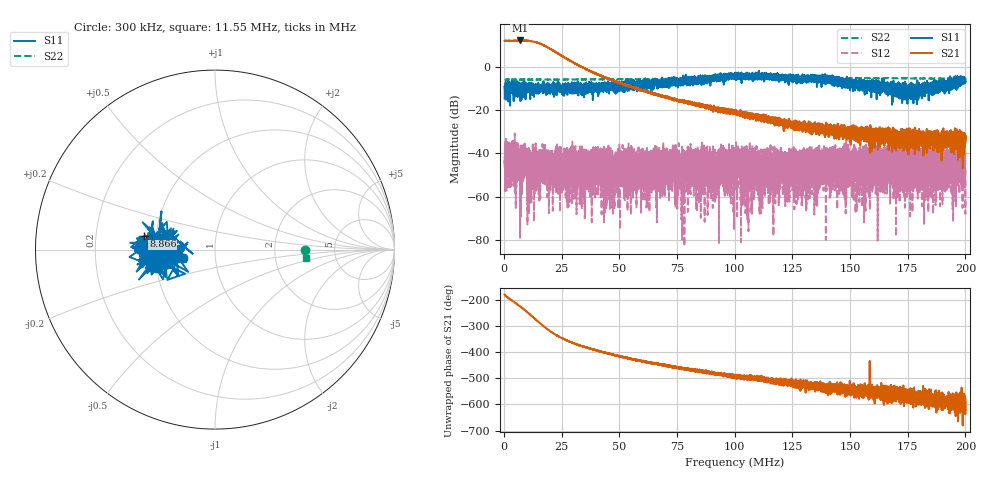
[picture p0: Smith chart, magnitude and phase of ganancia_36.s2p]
# Hz S DB R 50
! CMT, M5065, 19127446, 24.2.4/2
! Date: 10/29/2024 12:35:15 PM
! Data: Format (Calibration Info)
! Freq	S11:dB/Ang(F2)	S21:dB/Ang(F2)	S12:dB/Ang(F2)	S22:dB/Ang(F2)
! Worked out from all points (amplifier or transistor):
!   9000 points, 300 kHz to 200 MHz, reference 50 ohm
!   highest |S21| = 12.1 dB at 6.824 MHz (marker M1)
!   |S21| within 3 dB of that: start of sweep to 18.62 MHz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
!   unconditionally stable (mu >= 1): start of sweep to end of sweep
!   at 33.59 MHz: K = 92.86, MAG = 1.9 dB, |S12| = -49.2 dB
!   at 100.2 MHz: K = 728.49, MAG = -18.1 dB, |S12| = -48.8 dB
!   at 200 MHz: K = 2626.84, MAG = -30.1 dB, |S12| = -47.3 dB
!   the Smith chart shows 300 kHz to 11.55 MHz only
!   S11 on the Smith chart (normalised r, x): 300 kHz: 0.69, -0.07; 8.866 MHz: 0.43, +0.08; 11.55 MHz: 0.49, -0.05
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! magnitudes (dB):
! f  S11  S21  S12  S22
! 300 kHz  -14.6  11.9  -46.5  -6.0
! 1.543 MHz  -10.4  12.0  -36.5  -6.0
! 6.824 MHz  -8.6  12.1  -40.0  -5.9
! 8.866 MHz  -7.9  12.1  -47.5  -5.9
! 11.55 MHz  -9.2  11.8  -46.4  -5.9
! 33.59 MHz  -8.7  0.0  -49.2  -5.9
! 66.87 MHz  -6.8  -13.4  -39.5  -5.7
! 75.51 MHz  -8.2  -15.8  -48.3  -5.7
! 77.57 MHz  -5.6  -15.7  -42.1  -5.7
! 78.48 MHz  -6.7  -16.6  -45.3  -5.6
! 96.92 MHz  -4.5  -19.6  -59.8  -5.6
! 100.2 MHz  -4.0  -21.7  -48.8  -5.6
! 101.2 MHz  -3.2  -21.5  -43.1  -5.6
! 133.4 MHz  -5.3  -26.5  -47.1  -5.3
! 152.4 MHz  -7.1  -27.5  -43.2  -5.2
! 155.8 MHz  -7.7  -33.2  -45.1  -5.2
! 159.5 MHz  -10.8  -30.4  -44.2  -5.3
! 166.7 MHz  -8.7  -32.8  -45.0  -5.3
! 177.4 MHz  -10.8  -37.7  -58.4  -5.4
! 190.4 MHz  -10.2  -30.6  -50.2  -5.5
! 192.4 MHz  -5.3  -32.8  -42.5  -5.4
! 200 MHz  -5.5  -33.0  -47.3  -5.5
